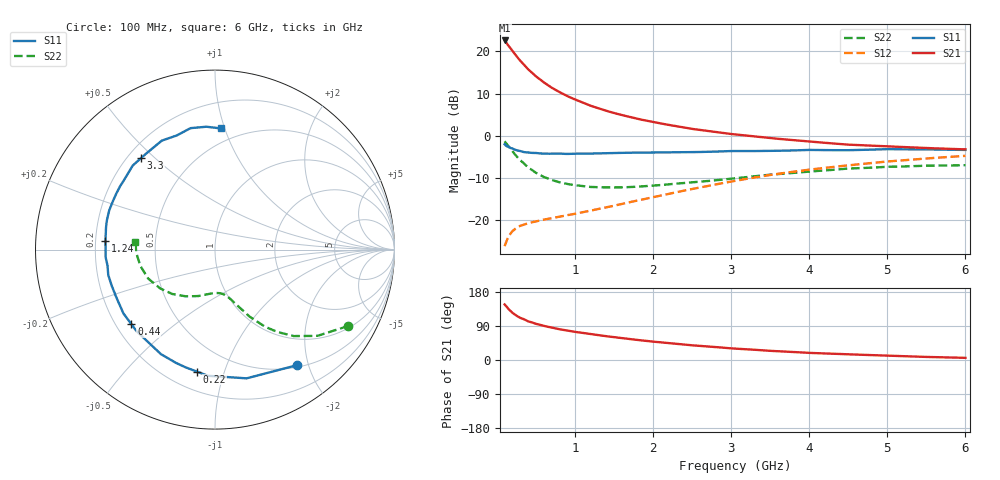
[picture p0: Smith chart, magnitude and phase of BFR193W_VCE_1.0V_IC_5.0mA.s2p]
! Infineon Technologies  Discrete & RF Semiconductors
! BFR193W
! VCE =  1.0 V,  IC =  5.0 mA
! Common Emitter S-Parameters:  Nov 2015
# GHz  S  MA  R  50
!  f  S11  S21  S12  S22
! GHz  MAG  ANG  MAG  ANG  MAG  ANG  MAG  ANG
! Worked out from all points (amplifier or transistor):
!   192 points, 100 MHz to 6 GHz, reference 50 ohm
!   highest |S21| = 22.6 dB at 100 MHz (marker M1)
!   |S21| within 3 dB of that: start of sweep to 222.1 MHz
!   unconditionally stable (mu >= 1): 1.16 GHz to 2.799 GHz
!   at 440 MHz: K = 0.52, MSG = 17.9 dB, |S12| = -20.6 dB
!   at 1.7 GHz: K = 1.08, MAG = 8.4 dB, |S12| = -15.8 dB
!   at 6 GHz: K = 0.96, MSG = 0.8 dB, |S12| = -4.8 dB
!   S11 on the Smith chart (normalised r, x): 100 MHz: 0.53, -1.81; 220 MHz: 0.32, -0.81; 440 MHz: 0.26, -0.36; 1.24 GHz: 0.24, +0.04; 3.3 GHz: 0.25, +0.45; 6 GHz: 0.39, +0.97
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0.1  0.7893 -54.7  13.52 146.6  0.0485 62.9  0.8561 -29.8
0.15  0.7386 -76.2  11.73 134.1  0.0634 54.0  0.747 -40.0
0.2  0.7042 -93.2  10.18 124.5  0.0731 47.7  0.6527 -47.6
0.22  0.6871 -98.5  9.627 121.8  0.0757 46.0  0.6193 -49.7
0.26  0.6678 -108.9  8.618 116.0  0.0808 43.1  0.5585 -53.9
0.3  0.6558 -117.3  7.759 111.2  0.0847 40.9  0.5105 -57.1
0.4  0.6306 -133.8  6.151 102.1  0.091 38.2  0.4197 -62.7
0.44  0.6242 -138.3  5.711 99.8  0.0928 38.0  0.3964 -64.0
0.5  0.6219 -145.1  5.072 95.5  0.0956 37.7  0.3618 -66.2
0.6  0.6108 -154.0  4.306 90.1  0.1001 38.1  0.3228 -69.4
0.7  0.6096 -160.7  3.723 85.3  0.1041 39.2  0.2974 -71.6
0.9  0.6054 -171.6  2.951 77.6  0.113 42.3  0.2659 -75.6
1.1  0.6098 -179.6  2.473 71.5  0.1229 45.6  0.2512 -80.1
1.24  0.6121 175.4  2.205 67.3  0.1306 47.7  0.2446 -83.4
1.6  0.624 165.0  1.756 57.6  0.154 52.5  0.2423 -91.4
2.08  0.6303 153.1  1.405 47.0  0.1925 56.4  0.2577 -102.3
2.5  0.6361 144.4  1.202 38.8  0.2318 57.6  0.2781 -111.1
3.1  0.6547 132.6  1.022 29.5  0.2952 56.0  0.3134 -124.7
3.3  0.6552 129.1  0.977 27.0  0.3178 54.8  0.3273 -129.5
4.1  0.6737 114.5  0.835 18.1  0.4036 48.7  0.3796 -147.3
5.1  0.6886 99.9  0.739 10.8  0.5006 39.2  0.4275 -169.8
6  0.6759 87.4  0.686 5.7  0.5746 29.9  0.4449 174.7
